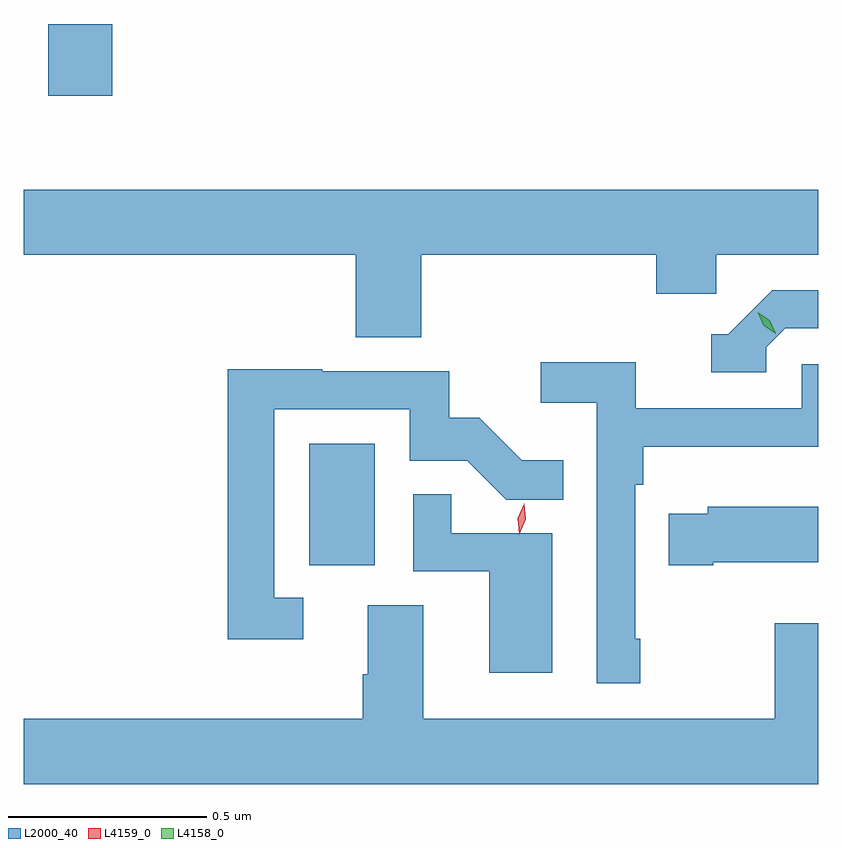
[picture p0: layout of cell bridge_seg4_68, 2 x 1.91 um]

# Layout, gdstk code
import gdstk
lib = gdstk.Library(unit=1e-6, precision=1e-09)
def R(c, l, rs):  # rectangles x0, y0, x1, y1
    for r in rs: c.add(gdstk.rectangle(r[:2], r[2:], *l))
def P(c, l, *ps):  # polygons
    for p in ps: c.add(gdstk.Polygon(p, *l))
L2000_40 = (2000, 40)
L4158_0 = (4158, 0)
L4159_0 = (4159, 0)

bridge_seg4_68 = lib.new_cell('bridge_seg4_68')
R(bridge_seg4_68, L2000_40, [(830.21,782.718,830.374,783.025), (829.553,783.9,829.714,784.081)])
P(bridge_seg4_68, L2000_40, [(830.492,783.5),(831.083,783.5),(831.083,783.402),(831.234,783.402),(831.234,783.5),(831.491,783.5),(831.491,783.664),(829.491,783.664),(829.491,783.5),(830.327,783.5),(830.327,783.292),(830.492,783.292)],
  [(831.36,783.267),(831.408,783.315),(831.491,783.315),(831.491,783.411),(831.375,783.411),(831.264,783.3),(831.221,783.3),(831.221,783.204),(831.36,783.204)],
  [(831.043,782.533),(831.03,782.533),(831.03,782.921),(831.05,782.921),(831.05,783.017),(831.491,783.017),(831.491,783.225),(831.45,783.225),(831.45,783.114),(831.032,783.114),(831.032,783.23),(830.793,783.23),(830.793,783.128),(830.934,783.128),(830.934,782.421),(831.043,782.421)],
  [(830.194,782.637),(830.121,782.637),(830.121,783.111),(830.463,783.111),(830.463,782.982),(830.607,782.982),(830.705,782.884),(830.849,782.884),(830.849,782.983),(830.745,782.983),(830.638,783.09),(830.562,783.09),(830.562,783.207),(830.243,783.207),(830.243,783.212),(830.005,783.212),(830.005,782.532),(830.194,782.532)],
  [(830.821,782.799),(830.567,782.799),(830.567,782.897),(830.472,782.897),(830.472,782.703),(830.663,782.703),(830.663,782.448),(830.821,782.448)],
  [(831.226,782.726),(831.491,782.726),(831.491,782.866),(831.213,782.866),(831.213,782.848),(831.115,782.848),(831.115,782.719),(831.226,782.719)],
  [(831.491,782.572),(831.382,782.572),(831.382,782.332),(830.497,782.332),(830.497,782.618),(830.357,782.618),(830.357,782.444),(830.345,782.444),(830.345,782.332),(829.491,782.332),(829.491,782.168),(831.491,782.168)])
P(bridge_seg4_68, L4158_0, [(831.384,783.301),(831.354,783.322),(831.339,783.355),(831.339,783.355),(831.339,783.355),(831.369,783.335),(831.384,783.302),(831.384,783.301)])
P(bridge_seg4_68, L4159_0, [(830.738,782.796),(830.738,782.797),(830.735,782.837),(830.751,782.874),(830.751,782.875),(830.751,782.874),(830.755,782.834),(830.738,782.797)])

lib.write_gds('bridge_seg4_68.gds')
